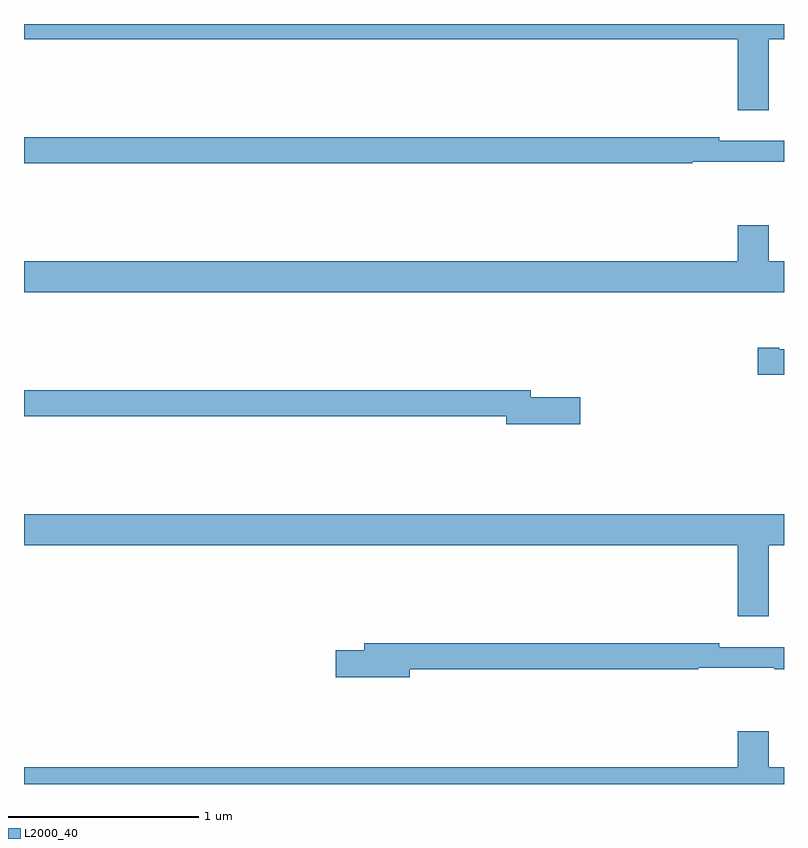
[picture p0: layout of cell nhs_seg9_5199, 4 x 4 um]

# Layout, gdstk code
import gdstk
lib = gdstk.Library(unit=1e-6, precision=1e-09)
def P(c, l, *ps):  # polygons
    for p in ps: c.add(gdstk.Polygon(p, *l))
L2000_40 = (2000, 40)

nhs_seg9_5199 = lib.new_cell('nhs_seg9_5199')
P(nhs_seg9_5199, L2000_40, [(416.92,1196.42),(417,1196.42),(417,1196.5),(413,1196.5),(413,1196.42),(416.756,1196.42),(416.756,1196.046),(416.92,1196.046)],
  [(416.518,1195.776),(417,1195.776),(417,1195.885),(416.66,1195.885),(416.66,1195.904),(413,1195.904),(413,1195.768),(416.518,1195.768)],
  [(417,1195.252),(416.92,1195.252),(416.92,1195.441),(416.756,1195.441),(416.756,1195.252),(413,1195.252),(413,1195.088),(417,1195.088)],
  [(417,1194.787),(416.974,1194.787),(416.974,1194.795),(416.862,1194.795),(416.862,1194.653),(417,1194.653)],
  [(415.927,1194.536),(415.666,1194.536),(415.666,1194.572),(413,1194.572),(413,1194.436),(415.538,1194.436),(415.538,1194.394),(415.927,1194.394)],
  [(416.92,1193.756),(417,1193.756),(417,1193.92),(413,1193.92),(413,1193.756),(416.756,1193.756),(416.756,1193.382),(416.92,1193.382)],
  [(415.03,1193.104),(416.548,1193.104),(416.548,1193.112),(416.948,1193.112),(416.948,1193.104),(417,1193.104),(417,1193.221),(416.66,1193.221),(416.66,1193.24),(414.791,1193.24),(414.791,1193.204),(414.642,1193.204),(414.642,1193.062),(415.03,1193.062)],
  [(417,1192.588),(416.92,1192.588),(416.92,1192.777),(416.756,1192.777),(416.756,1192.588),(413,1192.588),(413,1192.5),(417,1192.5)])

lib.write_gds('nhs_seg9_5199.gds')
